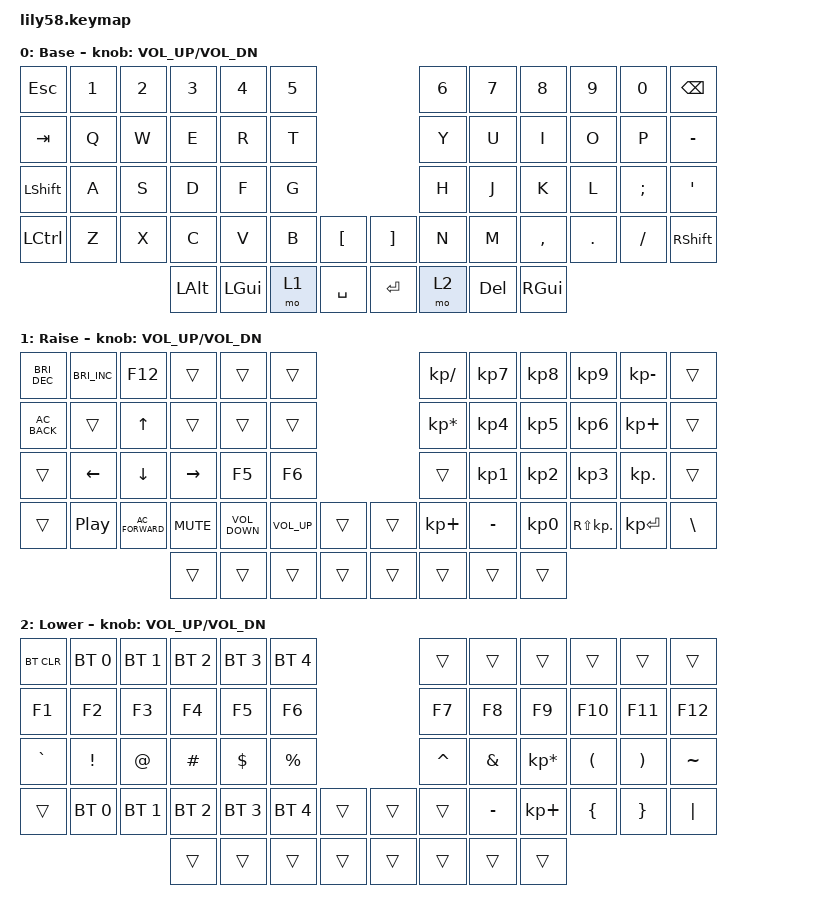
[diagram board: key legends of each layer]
/*
 * Copyright (c) 2020 The ZMK Contributors
 *
 * SPDX-License-Identifier: MIT
 */

#include <behaviors.dtsi>
#include <dt-bindings/zmk/bt.h>
#include <dt-bindings/zmk/keys.h>

/ {
    keymap {
        compatible = "zmk,keymap";

        default_layer {
            // ------------------------------------------------------------------------------------------------------------
            // |  ESC  |  1  |  2  |  3   |  4   |  5   |                   |  6   |  7    |  8    |  9   |   0   |   `   |
            // |  TAB  |  Q  |  W  |  E   |  R   |  T   |                   |  Y   |  U    |  I    |  O   |   P   |   -   |
            // |  CTRL |  A  |  S  |  D   |  F   |  G   |                   |  H   |  J    |  K    |  L   |   ;   |   '   |
            // | SHIFT |  Z  |  X  |  C   |  V   |  B   |   "["  |  |  "]"  |  N   |  M    |  ,    |  .   |   /   | SHIFT |
            //                     | ALT  | GUI  | LOWER|  SPACE |  | ENTER | RAISE| BSPC  | GUI   |

            display-name = "Base";
            bindings = <
&kp ESC           &kp N1  &kp N2  &kp N3    &kp N4    &kp N5                         &kp N6  &kp N7      &kp N8     &kp N9   &kp N0    &kp BACKSPACE
&kp TAB           &kp Q   &kp W   &kp E     &kp R     &kp T                          &kp Y   &kp U       &kp I      &kp O    &kp P     &kp MINUS
&kp LEFT_SHIFT    &kp A   &kp S   &kp D     &kp F     &kp G                          &kp H   &kp J       &kp K      &kp L    &kp SEMI  &kp SQT
&kp LEFT_CONTROL  &kp Z   &kp X   &kp C     &kp V     &kp B   &kp LBKT     &kp RBKT  &kp N   &kp M       &kp COMMA  &kp DOT  &kp FSLH  &kp RSHFT
                                  &kp LALT  &kp LGUI  &mo 1   &kp SPACE    &kp RET   &mo 2   &kp DELETE  &kp RGUI
            >;

            sensor-bindings = <&inc_dec_kp C_VOL_UP C_VOL_DN>;
        };

        raise_layer {
            // ------------------------------------------------------------------------------------------------------------
            // |       |     |     |      |      |      |                   |      |       |       |      |       |       |
            // |   `   |  1  |  2  |  3   |  4   |  5   |                   |  6   |   7   |   8   |  9   |   0   |       |
            // |   F1  |  F2 |  F3 |  F4  |  F5  |  F6  |                   |      |   <-  |   v   |  ^   |  ->   |       |
            // |   F7  |  F8 |  F9 |  F10 |  F11 |  F12 |        |  |       |  +   |   -   |   =   |  [   |   ]   |   \   |
            //                     |      |      |      |        |  |       |      |       |       |

            display-name = "Raise";
            bindings = <
&kp C_BRIGHTNESS_DEC  &kp C_BRIGHTNESS_INC  &kp F12           &trans           &trans             &trans                             &kp KP_DIVIDE    &kp KP_NUMBER_7  &kp KP_NUMBER_8  &kp KP_NUMBER_9  &kp KP_MINUS  &trans
&kp C_AC_BACK         &trans                &kp UP_ARROW      &trans           &trans             &trans                             &kp KP_ASTERISK  &kp KP_NUMBER_4  &kp KP_NUMBER_5  &kp KP_NUMBER_6  &kp KP_PLUS   &trans
&trans                &kp LEFT_ARROW        &kp DOWN_ARROW    &kp RIGHT_ARROW  &kp F5             &kp F6                             &trans           &kp KP_NUMBER_1  &kp KP_NUMBER_2  &kp KP_NUMBER_3  &kp KP_DOT    &trans
&trans                &kp C_PLAY_PAUSE      &kp C_AC_FORWARD  &kp K_MUTE       &kp C_VOLUME_DOWN  &kp C_VOLUME_UP  &trans    &trans  &kp KP_PLUS      &kp MINUS        &kp KP_NUMBER_0  &kp RS(KP_DOT)   &kp KP_ENTER  &kp BSLH
                                                              &trans           &trans             &trans           &trans    &trans  &trans           &trans           &trans
            >;

            sensor-bindings = <&inc_dec_kp C_VOL_UP C_VOL_DN>;
        };

        lower_layer {
            // ------------------------------------------------------------------------------------------------------------
            // | BTCLR | BT1 | BT2 |  BT3 |  BT4 |  BT5 |                   |      |       |       |      |       |       |
            // |  F1   |  F2 |  F3 |  F4  |  F5  |  F6  |                   |  F7  |  F8   |  F9   |  F10 |  F11  |  F12  |
            // |   `   |  !  |  @  |  #   |  $   |  %   |                   |  ^   |  &    |  *    |  (   |   )   |   ~   |
            // |       |     |     |      |      |      |        |  |       |      |  _    |  +    |  {   |   }   |  "|"  |
            //                     |      |      |      |        |  |       |      |       |       |

            display-name = "Lower";
            bindings = <
&bt BT_CLR  &bt BT_SEL 0  &bt BT_SEL 1  &bt BT_SEL 2  &bt BT_SEL 3  &bt BT_SEL 4                    &trans     &trans     &trans           &trans    &trans    &trans
&kp F1      &kp F2        &kp F3        &kp F4        &kp F5        &kp F6                          &kp F7     &kp F8     &kp F9           &kp F10   &kp F11   &kp F12
&kp GRAVE   &kp EXCL      &kp AT        &kp HASH      &kp DOLLAR    &kp PRCNT                       &kp CARET  &kp AMPS   &kp KP_MULTIPLY  &kp LPAR  &kp RPAR  &kp TILDE
&trans      &bt BT_SEL 0  &bt BT_SEL 1  &bt BT_SEL 2  &bt BT_SEL 3  &bt BT_SEL 4  &trans    &trans  &trans     &kp MINUS  &kp KP_PLUS      &kp LBRC  &kp RBRC  &kp PIPE
                                        &trans        &trans        &trans        &trans    &trans  &trans     &trans     &trans
            >;

            sensor-bindings = <&inc_dec_kp C_VOL_UP C_VOL_DN>;
        };

        extra_1 {
            status = "reserved";
        };

        extra_2 {
            status = "reserved";
        };

        extra_3 {
            status = "reserved";
        };
    };
};
